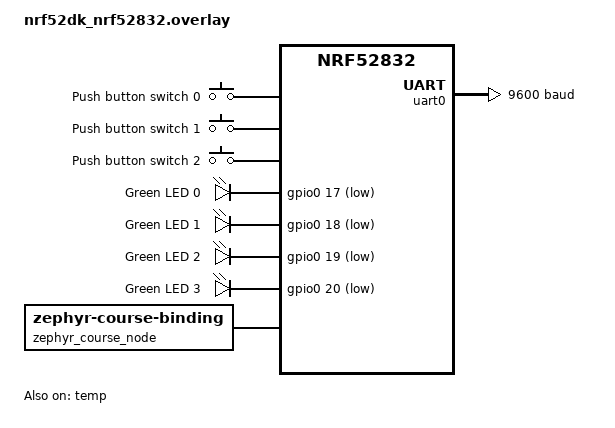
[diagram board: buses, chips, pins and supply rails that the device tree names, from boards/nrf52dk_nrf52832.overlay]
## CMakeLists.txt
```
cmake_minimum_required(VERSION 3.20.0)

# set(CMAKE_CXX_STANDARD 17) # This sets the C++ standard to C++17
# set(CMAKE_CXX_STANDARD_REQUIRED ON) # This makes C++17 a requirement and prevents a "decay" to C++98 when the compiler does not support C++17
# set(CMAKE_CXX_EXTENSIONS OFF) # This disables the use of compiler-specific extensions

find_package(Zephyr REQUIRED HINTS $ENV{ZEPHYR_BASE})

#set(ZEPHYR_PREFER "zephyr" "zephyr-v3.7.0") #Zephyr preference list
#find_package(Zephyr 3.6.0 REQUIRED HINTS $ENV{ZEPHYR_BASE}) #Define a specific version of Zephyr

project(zephyrproject)
# set(KCONFIG_ROOT ${ZEPHYR_BASE}/Kconfig)

target_sources(app PRIVATE src/main.cpp)

target_link_libraries(app PRIVATE stdc++)
```

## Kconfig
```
source "Kconfig.zephyr"

menu "Custom Application Configuration"
    
module = ZEPHYR_COURSE
module-str = zephyr_course
source "subsys/logging/Kconfig.template.log_config"

config BOARD
    string # Is invisible since we dont define a prompt
    default "zephyr_course_board"
    help
      Set a custom board name. This value will override the default board name.
config UART_DEVICE_STATUS
    string "UART Status"
    # bool "UART Status"
    # default $(dt_node_str_prop_equals,/soc/uart@40002000,status,okay)
    default $(dt_alias_enabled,my-cons-interface)
    help
      UART device status.

endmenu
```

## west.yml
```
manifest:
  defaults:
    remote: upstream

  remotes:
    - name: upstream
      url-base: https://github.com/zephyrproject-rtos
    - name: babblesim
      url-base: https://github.com/BabbleSim

  group-filter: [-babblesim, -optional]

  #
  # Please add items below based on alphabetical order
  projects:
    - name: cmsis
      revision: 4b96cbb174678dcd3ca86e11e1f24bc5f8726da0
      path: modules/hal/cmsis
      groups:
        - hal
    - name: hal_nordic
      revision: dce8519f7da37b0a745237679fd3f88250b495ff
      path: modules/hal/nordic
      groups:
        - hal

  self:
    path: app
```

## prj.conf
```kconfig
CONFIG_LOG=y
CONFIG_ZEPHYR_COURSE_LOG_LEVEL_ERR=y
# CONFIG_BOARD="zephyr_course_board"

CONFIG_SERIAL=y
CONFIG_UART_ASYNC_API=y

CONFIG_CPP=y
CONFIG_STD_CPP17=y
CONFIG_REQUIRES_FULL_LIBCPP=y
CONFIG_INPUT=y

CONFIG_NRFX_TEMP=y

CONFIG_LED=y
CONFIG_LED_GPIO=y
```

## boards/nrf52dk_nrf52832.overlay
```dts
#include "../dts/bindings/input/input-event-codes.h"

/ {
    aliases {
        my-cons-interface = &uart0;
    };

    // Redefinition of buttons
    buttons: buttons {
		compatible = "gpio-keys";
		button0: button_0 {
			label = "Push button switch 0";
			zephyr,code = <BUTTON_0>;
		};
		button1: button_1 {
			label = "Push button switch 1";
			zephyr,code = <BUTTON_1>;
		};
		button2: button_2 {
			label = "Push button switch 2";
			zephyr,code = <BUTTON_2>;
		};
	};

    leds: leds {
		compatible = "gpio-leds";
		led0: led_0 {
			gpios = <&gpio0 17 GPIO_ACTIVE_LOW>;
			label = "Green LED 0";
		};
		led1: led_1 {
			gpios = <&gpio0 18 GPIO_ACTIVE_LOW>;
			label = "Green LED 1";
		};
		led2: led_2 {
			gpios = <&gpio0 19 GPIO_ACTIVE_LOW>;
			label = "Green LED 2";
		};
		led3: led_3 {
			gpios = <&gpio0 20 GPIO_ACTIVE_LOW>;
			label = "Green LED 3";
		};
	};

    zephyr_course_node: zephyr_course_node {
        compatible = "zephyr-course-binding";
        negative-value = <(0xFFFFFFE2)>; // or <(-30)>;
        negative-value-64-bits = <0xFFFFFFFF 0xFFFFFFE2>; // or <(-30)>;
        leds-number = <1 2 3>;
        intervals = <5 8 3>;
		interrupt-controller = <&leds>;
    };

    longpress: longpress {
        compatible = "zephyr,input-longpress";
        input = <&buttons>;
        input-codes = <BUTTON_0>, <BUTTON_1>, <BUTTON_2>;
        short-codes = <KEY_A>, <KEY_B>, <KEY_C>;
        long-codes = <KEY_X>, <KEY_Y>, <KEY_Z>;
        long-delay-ms = <2000>;
    };
};

&temp {
    status = "okay";
};

&uart0 {
    current-speed = <9600>;
};
```

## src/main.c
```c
#include<stdio.h>
#include <zephyr/sys/printk.h>

int main(void)
{
    printk("Running on %s\n host board\n", CONFIG_BOARD);
    return 0;
}
```

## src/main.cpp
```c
#include <iostream>
#include <string>
#include <zephyr/device.h>
#include <zephyr/drivers/gpio.h>
#include <zephyr/drivers/uart.h>
#include <zephyr/input/input.h>
#include <zephyr/kernel.h>
#include <zephyr/logging/log.h>
#include <zephyr/sys/printk.h>

#include <nrfx_temp.h>
#include <blinker.h>

using namespace std;

LOG_MODULE_REGISTER(my_log_module, CONFIG_ZEPHYR_COURSE_LOG_LEVEL_ERR);

#define MY_CONS_INTERFACE DT_ALIAS(my_cons_interface)
const struct device *uart= DEVICE_DT_GET(MY_CONS_INTERFACE);

#define ZEPHYR_COURSE_NODE DT_NODELABEL(zephyr_course_node)

#define SLEEP_TIME_MS 100

static const struct device *const longpress_dev = DEVICE_DT_GET(
		DT_NODELABEL(longpress));

#define LED0_NODE DT_ALIAS(led0)
#define LED1_NODE DT_ALIAS(led1)
#define LED2_NODE DT_ALIAS(led2)
static const struct gpio_dt_spec led0 = GPIO_DT_SPEC_GET(LED0_NODE, gpios);
static const struct gpio_dt_spec led1 = GPIO_DT_SPEC_GET(LED1_NODE, gpios);
static const struct gpio_dt_spec led2 = GPIO_DT_SPEC_GET(LED2_NODE, gpios);

#define SW0_NODE DT_ALIAS(sw0) 
#define SW1_NODE DT_ALIAS(sw1) 
#define SW2_NODE DT_ALIAS(sw2) 
static const struct gpio_dt_spec button0 = GPIO_DT_SPEC_GET(SW0_NODE, gpios);
static const struct gpio_dt_spec button1 = GPIO_DT_SPEC_GET(SW1_NODE, gpios);
static const struct gpio_dt_spec button2 = GPIO_DT_SPEC_GET(SW2_NODE, gpios);

static void input_event_handler(struct input_event *evt, void *user_data)
{
    ARG_UNUSED(user_data);  // Si no lo usás

    LOG_ERR("input event: dev=%-16s %3s type=%2x code=%3d value=%d",
        evt->dev ? evt->dev->name : "NULL",
        evt->sync ? "SYN" : "",
        evt->type,
        evt->code,
        evt->value);

    if (evt->value == 1)
    {
        switch (evt->code) {
            case INPUT_KEY_A:
                gpio_pin_toggle_dt(&led0);
                LOG_ERR("INPUT_KEY_A\n");
                break;
            case INPUT_KEY_B:
                gpio_pin_toggle_dt(&led1);
                LOG_ERR("INPUT_KEY_B\n");
                break;
            case INPUT_KEY_C:
                gpio_pin_toggle_dt(&led2);
                LOG_ERR("INPUT_KEY_C\n");
                break;
            case INPUT_KEY_X:
                gpio_pin_toggle_dt(&led0);
                LOG_ERR("INPUT_KEY_X\n");
                break;
            case INPUT_KEY_Y:
                gpio_pin_toggle_dt(&led1);
                LOG_ERR("INPUT_KEY_Y\n");
                break;
            case INPUT_KEY_Z:
                gpio_pin_toggle_dt(&led2);
                LOG_ERR("INPUT_KEY_Z\n");
                break;
        }
    }
}

INPUT_CALLBACK_DEFINE(longpress_dev, input_event_handler,nullptr);

int main(void)
{
    constexpr bool is_native_posix = (strcmp(CONFIG_BOARD, "native_posix_64") == 0);
    if (is_native_posix) {
       LOG_ERR("The application is running on the native_posix_64 host board\n");
    } else {
        LOG_ERR("Running on %s", CONFIG_BOARD);
    }

    // ======================================

    LOG_ERR("LOG_ERR Message: Running on board: %s", CONFIG_BOARD);

    // ======================================

    if (!device_is_ready(uart)){
        printk("UART device not ready\r\n");
        return 1 ;
	}

    if(strcmp(CONFIG_UART_DEVICE_STATUS,"y") == 0){
        LOG_ERR("UART device is enabled");
        LOG_ERR("Device current-speed: %d", DT_PROP(MY_CONS_INTERFACE, current_speed));
        LOG_ERR("Device status: %s", DT_PROP(MY_CONS_INTERFACE, status));
        LOG_ERR("UART Base Address: 0x%x", DT_REG_ADDR(MY_CONS_INTERFACE));
    }else{
        LOG_ERR("UART device is not enabled");
    }

    // ======================================

    // 32 bits
    int64_t negative_valuee = (int32_t)DT_PROP(ZEPHYR_COURSE_NODE, negative_value);
    LOG_ERR("negative-value prop value: %lld", negative_valuee);

    // 64 bits
    int32_t negative_value_64_bits_high = DT_PROP_BY_IDX(ZEPHYR_COURSE_NODE, negative_value_64_bits, 0);
    uint32_t negative_value_64_bits_low  = DT_PROP_BY_IDX(ZEPHYR_COURSE_NODE, negative_value_64_bits, 1);
    int64_t full_value = (static_cast<int64_t>(negative_value_64_bits_high) << 32) | negative_value_64_bits_low;
    LOG_ERR("Full value (64-bit): %lld", full_value);

    // ======================================

	if (!device_is_ready(button0.port)) {
        LOG_ERR("Port device not ready\r\n");
		return -1;
	}

    gpio_pin_configure_dt(&led0, GPIO_OUTPUT_INACTIVE);
    gpio_pin_configure_dt(&led1, GPIO_OUTPUT_INACTIVE);
    gpio_pin_configure_dt(&led2, GPIO_OUTPUT_INACTIVE);

    gpio_pin_configure_dt(&button0, GPIO_INPUT);
    gpio_pin_configure_dt(&button1, GPIO_INPUT);
    gpio_pin_configure_dt(&button2, GPIO_INPUT);

    // ======================================

    nrfx_err_t status;
    (void)status;

    nrfx_temp_config_t config = NRFX_TEMP_DEFAULT_CONFIG;
    status = nrfx_temp_init(&config, NULL);
    NRFX_ASSERT(status == NRFX_SUCCESS);

    status = nrfx_temp_measure();
    NRFX_ASSERT(status == NRFX_SUCCESS);

    int32_t temperature = nrfx_temp_result_get();
    int32_t kelvin_temperature = nrfx_temp_calculate(temperature);

    LOG_ERR("Get value: %d [K]", kelvin_temperature);

    int32_t whole_kelvin = kelvin_temperature / 100;
    uint8_t fraction_kelvin = NRFX_ABS(kelvin_temperature % 100);

    LOG_ERR("Measured temperature: %d.%02u [K]", whole_kelvin, fraction_kelvin);

    // ======================================

    const struct device* blinker = DEVICE_DT_GET(DT_NODELABEL(zephyr_course_node));

    if(!device_is_ready(blinker)) {
        LOG_ERR("Blinker device not ready\r\n");
        k_sleep(K_FOREVER);
    }

    custom_blink_on(blinker, 0);
    // k_busy_wait(1000);
    // custom_blink_off(blinker);

    while (1) {
        k_msleep(SLEEP_TIME_MS);
    }

    return 0;
}
```
